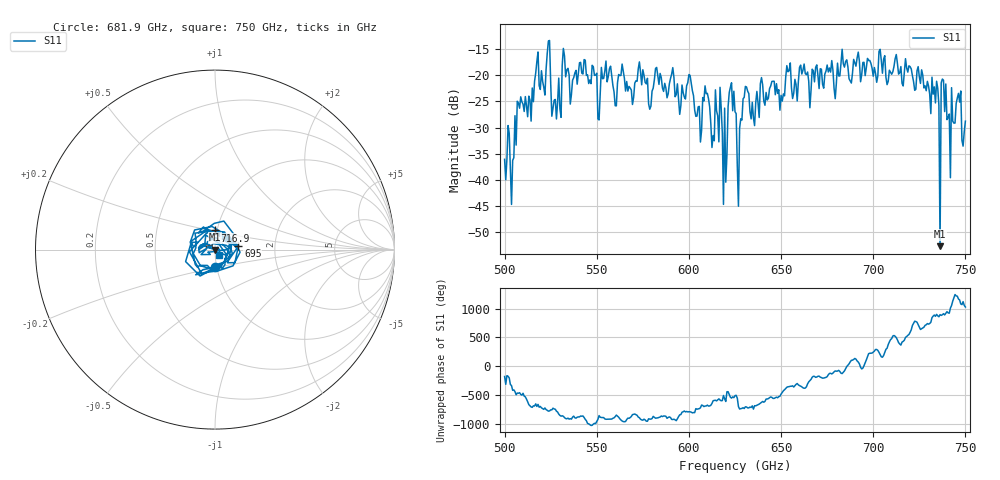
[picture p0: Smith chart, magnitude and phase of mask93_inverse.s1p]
!Created with skrf (http://scikit-rf.org).
# GHz S MA R 50.0
!freq magS11 angS11
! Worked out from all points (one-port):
!   401 points, 500 GHz to 750 GHz, reference 50 ohm
!   lowest |S11| = -52.6 dB at 736.2 GHz (marker M1), VSWR 1.00, Z = 49.8 + j0.0218 ohm
!   |S11| at or under -10 dB: start of sweep to end of sweep
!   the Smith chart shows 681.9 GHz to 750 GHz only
!   S11 on the Smith chart (normalised r, x): 681.9 GHz: 0.98, -0.19; 695 GHz: 1.30, +0.06; 716.9 GHz: 0.97, +0.21; 750 GHz: 1.04, -0.06
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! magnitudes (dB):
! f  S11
! 500 GHz  -36.1
! 517.5 GHz  -17.4
! 523.8 GHz  -13.5
! 526.9 GHz  -24.8
! 531.2 GHz  -18.1
! 562.5 GHz  -20.1
! 593.8 GHz  -21.6
! 600.6 GHz  -20.0
! 605.6 GHz  -25.9
! 610 GHz  -23.5
! 616.2 GHz  -32.7
! 619.4 GHz  -26.3
! 622.5 GHz  -22.3
! 625 GHz  -27.0
! 627.5 GHz  -30.1
! 630.6 GHz  -22.1
! 634.4 GHz  -25.2
! 656.2 GHz  -24.5
! 681.9 GHz  -20.1
! 687.5 GHz  -21.1
! 695 GHz  -17.5
! 716.9 GHz  -19.4
! 718.8 GHz  -19.4
! 736.2 GHz  -52.6
! 738.1 GHz  -20.9
! 740.6 GHz  -28.1
! 746.2 GHz  -23.5
! 750 GHz  -28.8
